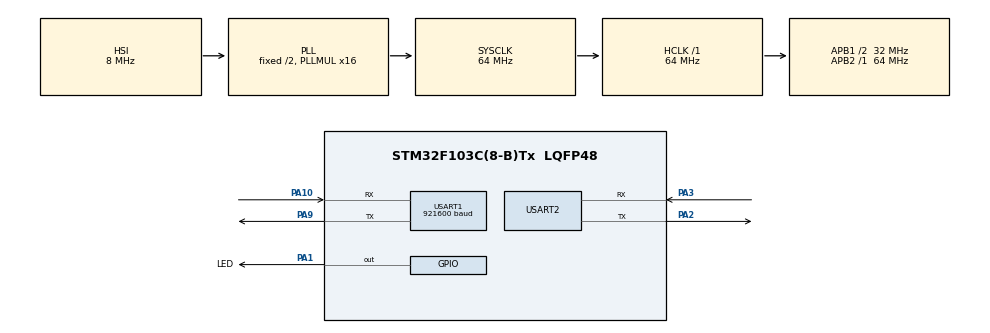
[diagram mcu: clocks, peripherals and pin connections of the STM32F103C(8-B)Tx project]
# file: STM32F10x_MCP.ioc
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Dma.Request0=USART2_RX
Dma.USART2_RX.0.Direction=DMA_PERIPH_TO_MEMORY
Dma.USART2_RX.0.Instance=DMA1_Channel6
Dma.USART2_RX.0.MemDataAlignment=DMA_MDATAALIGN_BYTE
Dma.USART2_RX.0.MemInc=DMA_MINC_ENABLE
Dma.USART2_RX.0.Mode=DMA_NORMAL
Dma.USART2_RX.0.PeriphDataAlignment=DMA_PDATAALIGN_BYTE
Dma.USART2_RX.0.PeriphInc=DMA_PINC_DISABLE
Dma.USART2_RX.0.Priority=DMA_PRIORITY_HIGH
FREERTOS.Tasks01=defaultTask,24,128,StartDefaultTask,Default,NULL,Dynamic,NULL,NULL;LED_Blank,8,256,LED_Blank_Handle,Default,NULL,Dynamic,NULL,NULL;log_send_task,9,256,_logSend,Default,NULL,Dynamic,NULL,NULL
FREERTOS.configTIMER_QUEUE_LENGTH=5
Mcu.Family=STM32F1
Mcu.Name=STM32F103C(8-B)Tx
Mcu.Package=LQFP48
NVIC.DMA1_Channel6_IRQn=true\:5\:0\:false\:false\:true\:true\:false\:true\:true
NVIC.PriorityGroup=NVIC_PRIORITYGROUP_4
NVIC.TIM1_UP_IRQn=true\:15\:0\:false\:false\:true\:false\:false\:true\:true
NVIC.TimeBase=TIM1_UP_IRQn
NVIC.TimeBaseIP=TIM1
NVIC.USART2_IRQn=true\:5\:0\:false\:false\:true\:true\:true\:true\:true
PA1.GPIO_Label=LED
PA1.GPIO_Speed=GPIO_SPEED_FREQ_MEDIUM
PA1.PinState=GPIO_PIN_SET
PA1.Signal=GPIO_Output
PA10.Mode=Asynchronous
PA10.Signal=USART1_RX
PA13.Mode=Serial_Wire
PA13.Signal=SYS_JTMS-SWDIO
PA14.Mode=Serial_Wire
PA14.Signal=SYS_JTCK-SWCLK
PA2.Mode=Asynchronous
PA2.Signal=USART2_TX
PA3.Mode=Asynchronous
PA3.Signal=USART2_RX
PA9.Mode=Asynchronous
PA9.Signal=USART1_TX
ProjectManager.HeapSize=0x200
ProjectManager.StackSize=0x400
ProjectManager.TargetToolchain=CMake
RCC.AHBFreq_Value=64000000
RCC.APB1CLKDivider=RCC_HCLK_DIV2
RCC.APB1Freq_Value=32000000
RCC.APB1TimFreq_Value=64000000
RCC.APB2Freq_Value=64000000
RCC.APB2TimFreq_Value=64000000
RCC.HCLKFreq_Value=64000000
RCC.PLLMUL=RCC_PLL_MUL16
RCC.SYSCLKFreq_VALUE=64000000
RCC.SYSCLKSource=RCC_SYSCLKSOURCE_PLLCLK
RCC.USBFreq_Value=64000000
USART1.BaudRate=921600
USART1.VirtualMode=VM_ASYNC
USART2.VirtualMode=VM_ASYNC
VP_FREERTOS_VS_CMSIS_V2.Mode=CMSIS_V2
VP_SYS_VS_tim1.Mode=TIM1
board=custom

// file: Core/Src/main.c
/* USER CODE BEGIN Header */
/**
 ******************************************************************************
 * @file           : main.c
 * @brief          : Main program body
 ******************************************************************************
 * @attention
 *
 * Copyright (c) 2025 STMicroelectronics.
 * All rights reserved.
 *
 * This software is licensed under terms that can be found in the LICENSE file
 * in the root directory of this software component.
 * If no LICENSE file comes with this software, it is provided AS-IS.
 *
 ******************************************************************************
 */
/* USER CODE END Header */
#include "main.h"
#include "cmsis_os.h"
#include "dma.h"
#include "usart.h"
#include "gpio.h"

/* USER CODE BEGIN Includes */
#include "emMCP.h"
#include "log.h"
/* USER CODE END Includes */

/* USER CODE BEGIN PTD */
#define USART2_RX_BUF_SIZE 512
static uint8_t usart2_rx_buf[USART2_RX_BUF_SIZE];
int UART_RECV = 0;
/* USER CODE END PTD */

void SystemClock_Config(void);
void MX_FREERTOS_Init(void);

/* USER CODE BEGIN 0 */

void HAL_UARTEx_RxEventCallback(UART_HandleTypeDef *huart, uint16_t Size)
{
  if (huart->Instance == USART2)
  {
    // 这里可以处理接收到的数据，Size 是接收到的数据长度

    uartPortRecvData((char *)usart2_rx_buf, (int)Size);
    // 重新启动DMA接收
    HAL_UARTEx_ReceiveToIdle_DMA(&huart2, usart2_rx_buf, USART2_RX_BUF_SIZE);
    __HAL_DMA_DISABLE_IT(&hdma_usart2_rx, DMA_IT_HT);
  }
}

/* USER CODE END 0 */

int main(void)
{

  /* MCU Configuration--------------------------------------------------------*/

  /* Reset of all peripherals, Initializes the Flash interface and the Systick. */
  HAL_Init();

  /* Configure the system clock */
  SystemClock_Config();

  /* Initialize all configured peripherals */
  MX_GPIO_Init();
  MX_DMA_Init();
  MX_USART1_UART_Init();
  MX_USART2_UART_Init();
  /* USER CODE BEGIN 2 */
  log_info("System Init Success");
  HAL_UARTEx_ReceiveToIdle_DMA(&huart2, usart2_rx_buf, USART2_RX_BUF_SIZE);
  __HAL_DMA_DISABLE_IT(&hdma_usart2_rx, DMA_IT_HT);

  /* USER CODE END 2 */

  /* Init scheduler */
  osKernelInitialize();  /* Call init function for freertos objects (in cmsis_os2.c) */
  MX_FREERTOS_Init();

  /* Start scheduler */
  osKernelStart();

  /* We should never get here as control is now taken by the scheduler */

  /* Infinite loop */
  while (1)
  {

  }
}

void SystemClock_Config(void)
{
  RCC_OscInitTypeDef RCC_OscInitStruct = {0};
  RCC_ClkInitTypeDef RCC_ClkInitStruct = {0};

  /** Initializes the RCC Oscillators according to the specified parameters
  * in the RCC_OscInitTypeDef structure.
  */
  RCC_OscInitStruct.OscillatorType = RCC_OSCILLATORTYPE_HSI;
  RCC_OscInitStruct.HSIState = RCC_HSI_ON;
  RCC_OscInitStruct.HSICalibrationValue = RCC_HSICALIBRATION_DEFAULT;
  RCC_OscInitStruct.PLL.PLLState = RCC_PLL_ON;
  RCC_OscInitStruct.PLL.PLLSource = RCC_PLLSOURCE_HSI_DIV2;
  RCC_OscInitStruct.PLL.PLLMUL = RCC_PLL_MUL16;
  if (HAL_RCC_OscConfig(&RCC_OscInitStruct) != HAL_OK)
  {
    Error_Handler();
  }

  /** Initializes the CPU, AHB and APB buses clocks
  */
  RCC_ClkInitStruct.ClockType = RCC_CLOCKTYPE_HCLK|RCC_CLOCKTYPE_SYSCLK
                              |RCC_CLOCKTYPE_PCLK1|RCC_CLOCKTYPE_PCLK2;
  RCC_ClkInitStruct.SYSCLKSource = RCC_SYSCLKSOURCE_PLLCLK;
  RCC_ClkInitStruct.AHBCLKDivider = RCC_SYSCLK_DIV1;
  RCC_ClkInitStruct.APB1CLKDivider = RCC_HCLK_DIV2;
  RCC_ClkInitStruct.APB2CLKDivider = RCC_HCLK_DIV1;

  if (HAL_RCC_ClockConfig(&RCC_ClkInitStruct, FLASH_LATENCY_2) != HAL_OK)
  {
    Error_Handler();
  }
}

void HAL_TIM_PeriodElapsedCallback(TIM_HandleTypeDef *htim)
{
  if (htim->Instance == TIM1)
  {
    HAL_IncTick();
  }
}

void Error_Handler(void)
{
  /* USER CODE BEGIN Error_Handler_Debug */
  /* User can add his own implementation to report the HAL error return state */
  log_error("Error Handler");
  __disable_irq();
  while (1)
  {

    // osDelay(1000);
  }
  /* USER CODE END Error_Handler_Debug */
}
#ifdef USE_FULL_ASSERT
/**
  * @brief  Reports the name of the source file and the source line number
  *         where the assert_param error has occurred.
  * @param  file: pointer to the source file name
  * @param  line: assert_param error line source number
  * @retval None
  */
void assert_failed(uint8_t *file, uint32_t line)
{
  /* USER CODE BEGIN 6 */
  /* User can add his own implementation to report the file name and line
     number, ex: printf("Wrong parameters value: file %s on line %d\r\n", file,
     line) */
  /* USER CODE END 6 */
}
#endif /* USE_FULL_ASSERT */

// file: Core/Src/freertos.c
/* USER CODE BEGIN Header */
/**
 ******************************************************************************
 * File Name          : freertos.c
 * Description        : Code for freertos applications
 ******************************************************************************
 * @attention
 *
 * Copyright (c) 2025 STMicroelectronics.
 * All rights reserved.
 *
 * This software is licensed under terms that can be found in the LICENSE file
 * in the root directory of this software component.
 * If no LICENSE file comes with this software, it is provided AS-IS.
 *
 ******************************************************************************
 */
/* USER CODE END Header */

#include "FreeRTOS.h"
#include "task.h"
#include "main.h"
#include "cmsis_os.h"

/* USER CODE BEGIN Includes */
#include "log.h"
#include "emMCP.h"
#include "user_mcp.h"
/* USER CODE END Includes */

/* Definitions for defaultTask */
osThreadId_t defaultTaskHandle;
const osThreadAttr_t defaultTask_attributes = {
    .name = "defaultTask",
    .stack_size = 128 * 4,
    .priority = (osPriority_t)osPriorityNormal,
};
/* Definitions for LED_Blank */
osThreadId_t LED_BlankHandle;
const osThreadAttr_t LED_Blank_attributes = {
    .name = "LED_Blank",
    .stack_size = 128 * 4,
    .priority = (osPriority_t)osPriorityLow,
};
/* Definitions for log_send_task */
osThreadId_t log_send_taskHandle;
const osThreadAttr_t log_send_task_attributes = {
    .name = "log_send_task",
    .stack_size = 512 * 4,
    .priority = (osPriority_t)osPriorityLow1,
};

void StartDefaultTask(void *argument);
void LED_Blank_Handle(void *argument);
void _logSend(void *argument);

void MX_FREERTOS_Init(void); /* (MISRA C 2004 rule 8.1) */

void MX_FREERTOS_Init(void)
{

  /* Create the thread(s) */
  /* creation of defaultTask */
  defaultTaskHandle = osThreadNew(StartDefaultTask, NULL, &defaultTask_attributes);

  /* creation of LED_Blank */
  // LED_BlankHandle = osThreadNew(LED_Blank_Handle, NULL, &LED_Blank_attributes);

  /* creation of log_send_task */
  log_send_taskHandle = osThreadNew(_logSend, NULL, &log_send_task_attributes);

}

void StartDefaultTask(void *argument)
{
  /* USER CODE BEGIN StartDefaultTask */
  /* Infinite loop */
  for (;;)
  {
    osDelay(100);
  }
  /* USER CODE END StartDefaultTask */
}

void LED_Blank_Handle(void *argument)
{
  /* USER CODE BEGIN LED_Blank_Handle */
  /* Infinite loop */
  for (;;)
  {
    HAL_GPIO_TogglePin(GPIOA, GPIO_PIN_1);
    osDelay(500);
  }
  /* USER CODE END LED_Blank_Handle */
}

void _logSend(void *argument)
{
  /* USER CODE BEGIN _logSend */
  /* Infinite loop */

  user_mcp_init();
  for (;;)
  {
    if (UART_RECV)
    {
      log_debug("uart recv data:%s", uart_data_buf);
      UART_RECV = 0;
    }
    emMCP_TickHandle(10);
    osDelay(100);
  }
  /* USER CODE END _logSend */
}
